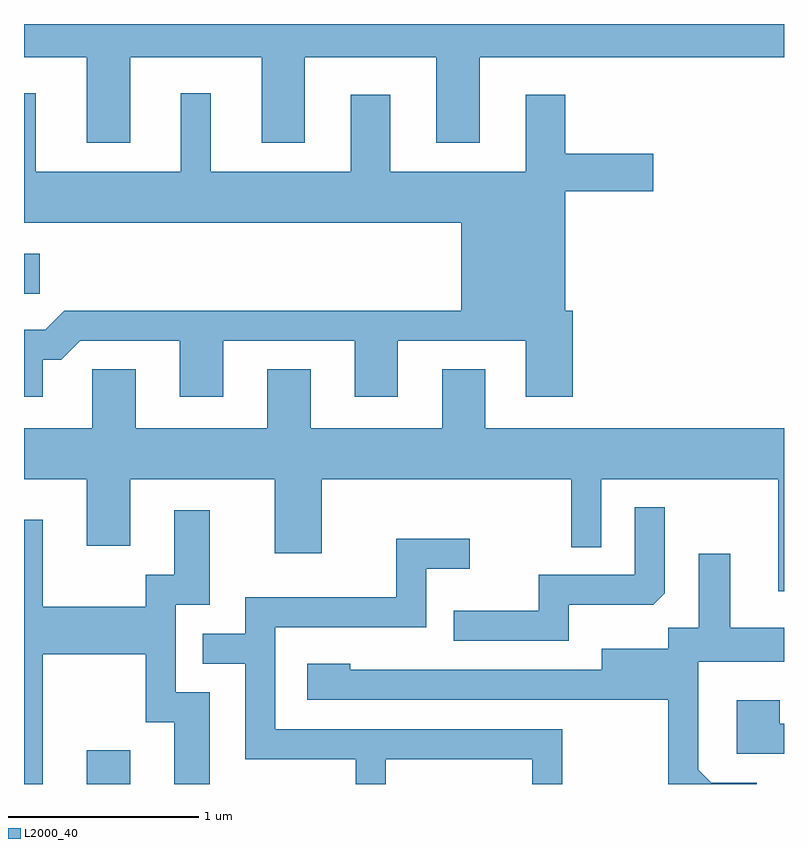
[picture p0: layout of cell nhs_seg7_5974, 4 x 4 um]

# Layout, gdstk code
import gdstk
lib = gdstk.Library(unit=1e-6, precision=1e-09)
def R(c, l, rs):  # rectangles x0, y0, x1, y1
    for r in rs: c.add(gdstk.rectangle(r[:2], r[2:], *l))
def P(c, l, *ps):  # polygons
    for p in ps: c.add(gdstk.Polygon(p, *l))
L2000_40 = (2000, 40)

nhs_seg7_5974 = lib.new_cell('nhs_seg7_5974')
R(nhs_seg7_5974, L2000_40, [(367.941,1728.252,368.169,1728.429), (367.611,1730.831,367.694,1731.044)])
P(nhs_seg7_5974, L2000_40, [(368.169,1732.076),(368.861,1732.076),(368.861,1731.626),(369.089,1731.626),(369.089,1732.076),(369.781,1732.076),(369.781,1731.626),(370.009,1731.626),(370.009,1732.076),(371.611,1732.076),(371.611,1732.252),(367.611,1732.252),(367.611,1732.076),(367.941,1732.076),(367.941,1731.626),(368.169,1731.626)],
  [(367.709,1730.486),(367.807,1730.486),(367.907,1730.586),(368.431,1730.586),(368.431,1730.291),(368.659,1730.291),(368.659,1730.586),(369.351,1730.586),(369.351,1730.291),(369.579,1730.291),(369.579,1730.586),(370.251,1730.586),(370.251,1730.291),(370.499,1730.291),(370.499,1730.744),(370.459,1730.744),(370.459,1731.371),(370.924,1731.371),(370.924,1731.569),(370.459,1731.569),(370.459,1731.879),(370.251,1731.879),(370.251,1731.474),(369.539,1731.474),(369.539,1731.879),(369.331,1731.879),(369.331,1731.474),(368.594,1731.474),(368.594,1731.888),(368.436,1731.888),(368.436,1731.474),(367.674,1731.474),(367.674,1731.888),(367.611,1731.888),(367.611,1731.206),(369.911,1731.206),(369.911,1730.744),(367.824,1730.744),(367.724,1730.644),(367.611,1730.644),(367.611,1730.291),(367.709,1730.291)],
  [(371.611,1730.124),(370.039,1730.124),(370.039,1730.434),(369.811,1730.434),(369.811,1730.124),(369.119,1730.124),(369.119,1730.434),(368.891,1730.434),(368.891,1730.124),(368.199,1730.124),(368.199,1730.434),(367.971,1730.434),(367.971,1730.124),(367.611,1730.124),(367.611,1729.856),(367.941,1729.856),(367.941,1729.506),(368.169,1729.506),(368.169,1729.856),(368.931,1729.856),(368.931,1729.466),(369.179,1729.466),(369.179,1729.856),(370.491,1729.856),(370.491,1729.498),(370.649,1729.498),(370.649,1729.856),(371.581,1729.856),(371.581,1729.266),(371.611,1729.266)],
  [(370.479,1729.196),(370.924,1729.196),(370.984,1729.257),(370.984,1729.708),(370.826,1729.708),(370.826,1729.354),(370.321,1729.354),(370.321,1729.164),(369.873,1729.164),(369.873,1729.006),(370.479,1729.006)],
  [(367.709,1728.936),(368.251,1728.936),(368.251,1728.576),(368.401,1728.576),(368.401,1728.252),(368.589,1728.252),(368.589,1728.734),(368.409,1728.734),(368.409,1729.196),(368.589,1729.196),(368.589,1729.694),(368.401,1729.694),(368.401,1729.354),(368.251,1729.354),(368.251,1729.184),(367.709,1729.184),(367.709,1729.644),(367.611,1729.644),(367.611,1728.252),(367.709,1728.252)],
  [(369.514,1728.381),(370.286,1728.381),(370.286,1728.252),(370.444,1728.252),(370.444,1728.539),(368.934,1728.539),(368.934,1729.076),(369.729,1729.076),(369.729,1729.386),(369.958,1729.386),(369.958,1729.544),(369.571,1729.544),(369.571,1729.234),(368.776,1729.234),(368.776,1729.044),(368.553,1729.044),(368.553,1728.886),(368.776,1728.886),(368.776,1728.381),(369.356,1728.381),(369.356,1728.252),(369.514,1728.252)],
  [(371.468,1728.259),(371.227,1728.259),(371.159,1728.327),(371.159,1728.896),(371.611,1728.896),(371.611,1729.074),(371.329,1729.074),(371.329,1729.463),(371.161,1729.463),(371.161,1729.074),(371.001,1729.074),(371.001,1728.964),(370.651,1728.964),(370.651,1728.854),(369.329,1728.854),(369.329,1728.884),(369.101,1728.884),(369.101,1728.696),(371.001,1728.696),(371.001,1728.254),(371.003,1728.252),(371.468,1728.252)],
  [(371.611,1728.569),(371.589,1728.569),(371.589,1728.694),(371.361,1728.694),(371.361,1728.411),(371.611,1728.411)])

lib.write_gds('nhs_seg7_5974.gds')
